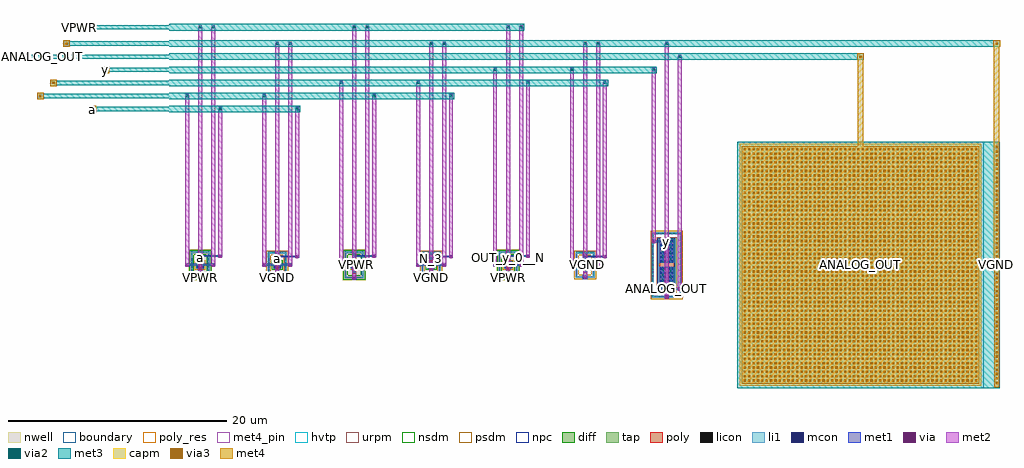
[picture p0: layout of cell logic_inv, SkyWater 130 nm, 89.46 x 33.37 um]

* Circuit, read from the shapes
.subckt logic_inv ANALOG_OUT N_3 OUT_y_0__N VGND VPWR a y
XM1 VGND a N_3 VGND sky130_fd_pr__nfet_01v8 w=0.65 l=0.15
XM2 VGND N_3 OUT_y_0__N VGND sky130_fd_pr__nfet_01v8 w=0.65 l=0.15
XM3 VGND OUT_y_0__N y VGND sky130_fd_pr__nfet_01v8 w=0.65 l=0.15
XM4 VPWR a N_3 VPWR sky130_fd_pr__pfet_01v8_hvt w=0.65 l=0.15
XM5 VPWR N_3 OUT_y_0__N VPWR sky130_fd_pr__pfet_01v8_hvt w=0.65 l=0.15
XM6 VPWR OUT_y_0__N y VPWR sky130_fd_pr__pfet_01v8_hvt w=0.65 l=0.15
XC7 ANALOG_OUT VGND sky130_fd_pr__cap_mim_m3_1 w=22.17 l=22.17
XR8 y ANALOG_OUT VGND sky130_fd_pr__res_xhigh_po w=1.41 l=0.42
.ends

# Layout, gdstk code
import gdstk
lib = gdstk.Library(unit=1e-6, precision=1e-09)
def R(c, l, rs):  # rectangles x0, y0, x1, y1
    for r in rs: c.add(gdstk.rectangle(r[:2], r[2:], *l))
def A(c, l, x, y, w, h, nx, ny, dx, dy):  # array of equal rectangles
    R(c, l, [(x+i*dx, y+j*dy, x+i*dx+w, y+j*dy+h) for i in range(nx) for j in range(ny)])
nwell = (64, 20)
diff = (65, 20)
tap = (65, 44)
poly_res = (66, 13)
poly = (66, 20)
licon = (66, 44)
li1 = (67, 20)
mcon = (67, 44)
met1 = (68, 20)
via = (68, 44)
met2 = (69, 20)
via2 = (69, 44)
met3 = (70, 20)
via3 = (70, 44)
met4_pin = (71, 16)
met4 = (71, 20)
hvtp = (78, 44)
urpm = (79, 20)
capm = (89, 44)
nsdm = (93, 44)
psdm = (94, 20)
npc = (95, 20)
boundary = (235, 4)

logic_inv = lib.new_cell('logic_inv')
A(logic_inv, nwell, 25.1, 19.865, 2.11, 2.84, 3, 1, 14.11, 0)
A(logic_inv, diff, 25.79, 20.96, 0.73, 0.65, 6, 1, 7.055, 0)
A(logic_inv, tap, 25.28, 20.045, 1.75, 0.17, 3, 2, 14.11, 2.31)
A(logic_inv, tap, 32.335, 20.09, 1.75, 0.17, 3, 2, 14.11, 2.22)
R(logic_inv, tap, [(67.555,18.285,70.265,18.455), (67.555,18.455,67.725,24.115), (70.095,18.455,70.265,24.115), (25.28,20.215,25.45,22.355), (26.86,20.215,27.03,22.355), (39.39,20.215,39.56,22.355), (40.97,20.215,41.14,22.355), (53.5,20.215,53.67,22.355), (55.08,20.215,55.25,22.355), (32.335,20.26,32.505,22.31), (33.915,20.26,34.085,22.31), (46.445,20.26,46.615,22.31), (48.025,20.26,48.195,22.31), (60.555,20.26,60.725,22.31), (62.135,20.26,62.305,22.31), (67.555,24.115,70.265,24.285)])
R(logic_inv, poly_res, [(68.205,21.015,69.615,21.555)])
A(logic_inv, poly, 25.99, 20.475, 0.33, 0.33, 3, 2, 14.11, 1.29)
A(logic_inv, poly, 33.045, 20.52, 0.33, 0.33, 3, 2, 14.11, 1.2)
A(logic_inv, poly, 26.08, 20.805, 0.15, 0.96, 3, 1, 14.11, 0)
A(logic_inv, poly, 33.135, 20.85, 0.15, 0.87, 3, 1, 14.11, 0)
R(logic_inv, poly, [(68.205,18.935,69.615,23.635)])
A(logic_inv, licon, 68.145, 18.285, 0.17, 0.17, 5, 2, 0.34, 5.83)
A(logic_inv, licon, 67.555, 18.82, 0.17, 0.17, 1, 15, 0, 0.34)
A(logic_inv, licon, 70.095, 18.82, 0.17, 0.17, 1, 15, 0, 0.34)
A(logic_inv, licon, 26.07, 20.555, 0.17, 0.17, 3, 2, 14.11, 1.29)
A(logic_inv, licon, 33.125, 20.6, 0.17, 0.17, 3, 2, 14.11, 1.2)
A(logic_inv, licon, 25.28, 20.69, 0.17, 0.17, 1, 4, 0, 0.34)
A(logic_inv, licon, 26.86, 20.69, 0.17, 0.17, 1, 4, 0, 0.34)
A(logic_inv, licon, 32.335, 20.69, 0.17, 0.17, 1, 4, 0, 0.34)
A(logic_inv, licon, 33.915, 20.69, 0.17, 0.17, 1, 4, 0, 0.34)
A(logic_inv, licon, 39.39, 20.69, 0.17, 0.17, 1, 4, 0, 0.34)
A(logic_inv, licon, 40.97, 20.69, 0.17, 0.17, 1, 4, 0, 0.34)
A(logic_inv, licon, 46.445, 20.69, 0.17, 0.17, 1, 4, 0, 0.34)
A(logic_inv, licon, 48.025, 20.69, 0.17, 0.17, 1, 4, 0, 0.34)
A(logic_inv, licon, 53.5, 20.69, 0.17, 0.17, 1, 4, 0, 0.34)
A(logic_inv, licon, 55.08, 20.69, 0.17, 0.17, 1, 4, 0, 0.34)
A(logic_inv, licon, 60.555, 20.69, 0.17, 0.17, 1, 4, 0, 0.34)
A(logic_inv, licon, 62.135, 20.69, 0.17, 0.17, 1, 4, 0, 0.34)
R(logic_inv, licon, [(68.46,19.015,68.65,21.015), (69.17,19.015,69.36,21.015), (25.9,20.045,26.07,20.215), (26.24,20.045,26.41,20.215), (40.01,20.045,40.18,20.215), (40.35,20.045,40.52,20.215), (54.12,20.045,54.29,20.215), (54.46,20.045,54.63,20.215), (32.955,20.09,33.125,20.26), (33.295,20.09,33.465,20.26), (47.065,20.09,47.235,20.26), (47.405,20.09,47.575,20.26), (61.175,20.09,61.345,20.26), (61.515,20.09,61.685,20.26), (25.85,21.03,26.02,21.2), (26.29,21.03,26.46,21.2), (32.905,21.03,33.075,21.2), (33.345,21.03,33.515,21.2), (39.96,21.03,40.13,21.2), (40.4,21.03,40.57,21.2), (47.015,21.03,47.185,21.2), (47.455,21.03,47.625,21.2), (54.07,21.03,54.24,21.2), (54.51,21.03,54.68,21.2), (61.125,21.03,61.295,21.2), (61.565,21.03,61.735,21.2), (25.85,21.37,26.02,21.54), (26.29,21.37,26.46,21.54), (32.905,21.37,33.075,21.54), (33.345,21.37,33.515,21.54), (39.96,21.37,40.13,21.54), (40.4,21.37,40.57,21.54), (47.015,21.37,47.185,21.54), (47.455,21.37,47.625,21.54), (54.07,21.37,54.24,21.54), (54.51,21.37,54.68,21.54), (61.125,21.37,61.295,21.54), (61.565,21.37,61.735,21.54), (68.46,21.555,68.65,23.555), (69.17,21.555,69.36,23.555), (32.955,22.31,33.125,22.48), (33.295,22.31,33.465,22.48), (47.065,22.31,47.235,22.48), (47.405,22.31,47.575,22.48), (61.175,22.31,61.345,22.48), (61.515,22.31,61.685,22.48), (25.9,22.355,26.07,22.525), (26.24,22.355,26.41,22.525), (40.01,22.355,40.18,22.525), (40.35,22.355,40.52,22.525), (54.12,22.355,54.29,22.525), (54.46,22.355,54.63,22.525)])
A(logic_inv, li1, 25.28, 20.045, 1.75, 0.17, 3, 2, 14.11, 2.31)
A(logic_inv, li1, 32.335, 20.09, 1.75, 0.17, 3, 2, 14.11, 2.22)
A(logic_inv, li1, 25.99, 20.555, 0.33, 0.17, 3, 2, 14.11, 1.29)
A(logic_inv, li1, 33.045, 20.6, 0.33, 0.17, 3, 2, 14.11, 1.2)
A(logic_inv, li1, 33.125, 21.8, 0.17, 0.34, 3, 1, 14.11, 0)
A(logic_inv, li1, 26.07, 21.845, 0.17, 0.34, 3, 1, 14.11, 0)
R(logic_inv, li1, [(67.555,18.285,70.265,18.455), (67.555,18.455,67.725,24.115), (70.095,18.455,70.265,24.115), (68.205,18.935,69.615,21.095), (25.28,20.215,25.45,22.355), (26.86,20.215,27.03,22.355), (39.39,20.215,39.56,22.355), (40.97,20.215,41.14,22.355), (53.5,20.215,53.67,22.355), (55.08,20.215,55.25,22.355), (32.335,20.26,32.505,22.31), (33.915,20.26,34.085,22.31), (46.445,20.26,46.615,22.31), (48.025,20.26,48.195,22.31), (60.555,20.26,60.725,22.31), (62.135,20.26,62.305,22.31), (25.85,20.94,26.02,21.63), (26.29,20.94,26.46,21.63), (32.905,20.94,33.075,21.63), (33.345,20.94,33.515,21.63), (39.96,20.94,40.13,21.63), (40.4,20.94,40.57,21.63), (47.015,20.94,47.185,21.63), (47.455,20.94,47.625,21.63), (54.07,20.94,54.24,21.63), (54.51,20.94,54.68,21.63), (61.125,20.94,61.295,21.63), (61.565,20.94,61.735,21.63), (68.205,21.475,69.615,23.635), (67.555,24.115,70.265,24.285)])
A(logic_inv, mcon, 68.285, 19.03, 0.17, 0.17, 4, 6, 0.36, 0.36)
A(logic_inv, mcon, 26.07, 20.045, 0.17, 0.17, 3, 2, 14.11, 1.97)
A(logic_inv, mcon, 33.125, 20.09, 0.17, 0.17, 3, 2, 14.11, 1.88)
A(logic_inv, mcon, 68.285, 21.565, 0.17, 0.17, 4, 6, 0.36, 0.36)
R(logic_inv, mcon, [(68.825,18.285,68.995,18.455), (68.825,19.025,68.995,19.195), (25.85,21.02,26.02,21.19), (26.29,21.02,26.46,21.19), (32.905,21.02,33.075,21.19), (33.345,21.02,33.515,21.19), (39.96,21.02,40.13,21.19), (40.4,21.02,40.57,21.19), (47.015,21.02,47.185,21.19), (47.455,21.02,47.625,21.19), (54.07,21.02,54.24,21.19), (54.51,21.02,54.68,21.19), (61.125,21.02,61.295,21.19), (61.565,21.02,61.735,21.19), (25.85,21.38,26.02,21.55), (26.29,21.38,26.46,21.55), (32.905,21.38,33.075,21.55), (33.345,21.38,33.515,21.55), (39.96,21.38,40.13,21.55), (40.4,21.38,40.57,21.55), (47.015,21.38,47.185,21.55), (47.455,21.38,47.625,21.55), (54.07,21.38,54.24,21.55), (54.51,21.38,54.68,21.55), (61.125,21.38,61.295,21.55), (61.565,21.38,61.735,21.55), (68.825,23.375,68.995,23.545)])
A(logic_inv, met1, 25.955, 19.93, 0.4, 0.4, 3, 2, 14.11, 1.97)
A(logic_inv, met1, 33.01, 19.975, 0.4, 0.4, 3, 2, 14.11, 1.88)
A(logic_inv, met1, 25.975, 20, 0.36, 0.26, 3, 1, 14.11, 0)
A(logic_inv, met1, 33.03, 20.045, 0.36, 0.26, 3, 1, 14.11, 0)
A(logic_inv, met1, 34.85, 21.925, 0.36, 0.26, 3, 1, 14.11, 0)
A(logic_inv, met1, 27.795, 21.97, 0.36, 0.26, 3, 1, 14.11, 0)
A(logic_inv, met1, 33.21, 21.97, 1.82, 0.17, 3, 1, 14.11, 0)
A(logic_inv, met1, 26.155, 22.015, 1.82, 0.17, 3, 1, 14.11, 0)
R(logic_inv, met1, [(68.71,18.17,69.11,18.57), (68.73,18.24,69.09,18.5), (68.71,18.91,69.11,19.31), (68.255,18.965,69.565,21.07), (69.93,18.98,70.29,19.24), (68.91,19.025,70.11,19.195), (25.82,20.96,26.05,21.61), (26.26,20.96,26.49,21.61), (32.875,20.96,33.105,21.61), (33.315,20.96,33.545,21.61), (39.93,20.96,40.16,21.61), (40.37,20.96,40.6,21.61), (46.985,20.96,47.215,21.61), (47.425,20.96,47.655,21.61), (54.04,20.96,54.27,21.61), (54.48,20.96,54.71,21.61), (61.095,20.96,61.325,21.61), (61.535,20.96,61.765,21.61), (24.775,21.155,25.135,21.415), (27.175,21.155,27.535,21.415), (31.83,21.155,32.19,21.415), (34.23,21.155,34.59,21.415), (38.885,21.155,39.245,21.415), (41.285,21.155,41.645,21.415), (45.94,21.155,46.3,21.415), (48.34,21.155,48.7,21.415), (52.995,21.155,53.355,21.415), (55.395,21.155,55.755,21.415), (60.05,21.155,60.41,21.415), (62.45,21.155,62.81,21.415), (24.955,21.2,25.935,21.37), (26.375,21.2,27.355,21.37), (32.01,21.2,32.99,21.37), (33.43,21.2,34.41,21.37), (39.065,21.2,40.045,21.37), (40.485,21.2,41.465,21.37), (46.12,21.2,47.1,21.37), (47.54,21.2,48.52,21.37), (53.175,21.2,54.155,21.37), (54.595,21.2,55.575,21.37), (60.23,21.2,61.21,21.37), (61.65,21.2,62.63,21.37), (68.255,21.5,69.565,23.605), (68.71,23.26,69.11,23.66), (67.53,23.33,67.89,23.59), (67.71,23.375,68.91,23.545)])
A(logic_inv, via, 26.08, 20.055, 0.15, 0.15, 3, 1, 14.11, 0)
A(logic_inv, via, 33.135, 20.1, 0.15, 0.15, 3, 1, 14.11, 0)
A(logic_inv, via, 34.955, 21.98, 0.15, 0.15, 3, 1, 14.11, 0)
A(logic_inv, via, 27.9, 22.025, 0.15, 0.15, 3, 1, 14.11, 0)
R(logic_inv, via, [(68.835,18.295,68.985,18.445), (70.035,19.035,70.185,19.185), (24.88,21.21,25.03,21.36), (27.28,21.21,27.43,21.36), (31.935,21.21,32.085,21.36), (34.335,21.21,34.485,21.36), (38.99,21.21,39.14,21.36), (41.39,21.21,41.54,21.36), (46.045,21.21,46.195,21.36), (48.445,21.21,48.595,21.36), (53.1,21.21,53.25,21.36), (55.5,21.21,55.65,21.36), (60.155,21.21,60.305,21.36), (62.555,21.21,62.705,21.36), (67.635,23.385,67.785,23.535)])
A(logic_inv, met2, 26.025, 19.95, 0.26, 0.36, 3, 1, 14.11, 0)
A(logic_inv, met2, 33.08, 19.995, 0.26, 0.36, 3, 1, 14.11, 0)
A(logic_inv, met2, 25.975, 20.13, 0.36, 22.94, 3, 1, 14.11, 0)
A(logic_inv, met2, 33.03, 20.175, 0.36, 21.395, 3, 1, 14.11, 0)
A(logic_inv, met2, 27.175, 21.285, 0.36, 21.785, 3, 1, 14.11, 0)
A(logic_inv, met2, 34.23, 21.285, 0.36, 20.285, 3, 1, 14.11, 0)
A(logic_inv, met2, 34.9, 21.875, 0.26, 0.36, 3, 1, 14.11, 0)
A(logic_inv, met2, 27.845, 21.92, 0.26, 0.36, 3, 1, 14.11, 0)
R(logic_inv, met2, [(68.78,18.19,69.04,18.55), (68.73,18.37,69.09,41.57), (69.98,18.93,70.24,19.29), (69.93,19.11,70.29,40.37), (24.825,21.105,25.085,21.465), (27.225,21.105,27.485,21.465), (31.88,21.105,32.14,21.465), (34.28,21.105,34.54,21.465), (38.935,21.105,39.195,21.465), (41.335,21.105,41.595,21.465), (45.99,21.105,46.25,21.465), (48.39,21.105,48.65,21.465), (53.045,21.105,53.305,21.465), (55.445,21.105,55.705,21.465), (60.1,21.105,60.36,21.465), (62.5,21.105,62.76,21.465), (24.775,21.285,25.135,36.77), (31.83,21.285,32.19,36.77), (38.885,21.285,39.245,37.97), (45.94,21.285,46.3,37.97), (52.995,21.285,53.355,39.17), (60.05,21.285,60.41,39.17), (34.85,22.055,35.21,35.57), (48.96,22.055,49.32,36.77), (63.07,22.055,63.43,37.97), (27.795,22.1,28.155,35.57), (41.905,22.1,42.265,36.77), (56.015,22.1,56.375,37.97), (67.58,23.28,67.84,23.64), (67.53,23.46,67.89,39.17), (27.835,35.38,28.115,35.76), (34.89,35.38,35.17,35.76), (24.815,36.58,25.095,36.96), (31.87,36.58,32.15,36.96), (41.945,36.58,42.225,36.96), (49,36.58,49.28,36.96), (38.925,37.78,39.205,38.16), (45.98,37.78,46.26,38.16), (56.055,37.78,56.335,38.16), (63.11,37.78,63.39,38.16), (53.035,38.98,53.315,39.36), (60.09,38.98,60.37,39.36), (67.57,38.98,67.85,39.36), (69.97,40.18,70.25,40.56), (33.07,41.38,33.35,41.76), (34.27,41.38,34.55,41.76), (47.18,41.38,47.46,41.76), (48.38,41.38,48.66,41.76), (61.29,41.38,61.57,41.76), (62.49,41.38,62.77,41.76), (68.77,41.38,69.05,41.76), (26.015,42.88,26.295,43.26), (27.215,42.88,27.495,43.26), (40.125,42.88,40.405,43.26), (41.325,42.88,41.605,43.26), (54.235,42.88,54.515,43.26), (55.435,42.88,55.715,43.26)])
R(logic_inv, via2, [(27.875,35.47,28.075,35.67), (34.93,35.47,35.13,35.67), (24.855,36.67,25.055,36.87), (31.91,36.67,32.11,36.87), (41.985,36.67,42.185,36.87), (49.04,36.67,49.24,36.87), (38.965,37.87,39.165,38.07), (46.02,37.87,46.22,38.07), (56.095,37.87,56.295,38.07), (63.15,37.87,63.35,38.07), (53.075,39.07,53.275,39.27), (60.13,39.07,60.33,39.27), (67.61,39.07,67.81,39.27), (70.01,40.27,70.21,40.47), (33.11,41.47,33.31,41.67), (34.31,41.47,34.51,41.67), (47.22,41.47,47.42,41.67), (48.42,41.47,48.62,41.67), (61.33,41.47,61.53,41.67), (62.53,41.47,62.73,41.67), (68.81,41.47,69.01,41.67), (26.055,42.97,26.255,43.17), (27.255,42.97,27.455,43.17), (40.165,42.97,40.365,43.17), (41.365,42.97,41.565,43.17), (54.275,42.97,54.475,43.17), (55.475,42.97,55.675,43.17)])
R(logic_inv, met3, [(75.39,10,99.42,32.57), (16,35.27,16.6,35.87), (23.3,35.27,35.33,35.87), (27.725,35.32,28.225,35.82), (34.78,35.32,35.28,35.82), (11.2,36.47,11.8,37.07), (23.3,36.47,49.44,37.07), (24.705,36.52,25.205,37.02), (31.76,36.52,32.26,37.02), (41.835,36.52,42.335,37.02), (48.89,36.52,49.39,37.02), (12.4,37.67,13,38.27), (23.3,37.67,63.55,38.27), (38.815,37.72,39.315,38.22), (45.87,37.72,46.37,38.22), (55.945,37.72,56.445,38.22), (63,37.72,63.5,38.22), (17.2,38.87,17.8,39.47), (23.3,38.87,68.01,39.47), (52.925,38.92,53.425,39.42), (59.98,38.92,60.48,39.42), (67.46,38.92,67.96,39.42), (10,40.07,10.6,40.67), (23.3,40.07,86.975,40.67), (86.375,40.07,86.975,40.67), (69.86,40.12,70.36,40.62), (13.6,41.27,14.2,41.87), (23.3,41.27,99.46,41.87), (98.86,41.27,99.46,41.87), (32.96,41.32,33.46,41.82), (34.16,41.32,34.66,41.82), (47.07,41.32,47.57,41.82), (48.27,41.32,48.77,41.82), (61.18,41.32,61.68,41.82), (62.38,41.32,62.88,41.82), (68.66,41.32,69.16,41.82), (14.8,42.77,15.4,43.37), (23.3,42.77,55.875,43.37), (25.905,42.82,26.405,43.32), (27.105,42.82,27.605,43.32), (40.015,42.82,40.515,43.32), (41.215,42.82,41.715,43.32), (54.125,42.82,54.625,43.32), (55.325,42.82,55.825,43.32)])
A(logic_inv, via3, 99.06, 10.385, 0.2, 0.2, 1, 55, 0, 0.4)
A(logic_inv, via3, 75.975, 10.585, 0.2, 0.2, 54, 54, 0.4, 0.4)
R(logic_inv, via3, [(16.2,35.47,16.4,35.67), (11.4,36.67,11.6,36.87), (12.6,37.87,12.8,38.07), (17.4,39.07,17.6,39.27), (10.2,40.27,10.4,40.47), (86.575,40.27,86.775,40.47), (13.8,41.47,14,41.67), (99.06,41.47,99.26,41.67), (15,42.97,15.2,43.17)])
R(logic_inv, met4_pin, [(16.05,35.32,16.55,35.82), (17.25,38.92,17.75,39.42), (10.05,40.12,10.55,40.62), (13.65,41.32,14.15,41.82), (14.85,42.82,15.35,43.32)])
R(logic_inv, met4, [(98.92,10.06,99.4,32.51), (75.785,10.395,97.565,32.175), (86.425,21.285,86.925,40.37), (98.91,21.285,99.41,41.57), (16,35.27,16.6,35.87), (16.05,35.27,16.55,35.87), (11.2,36.47,11.8,37.07), (11.25,36.47,11.75,37.07), (12.4,37.67,13,38.27), (12.45,37.67,12.95,38.27), (17.2,38.87,17.8,39.47), (17.25,38.87,17.75,39.47), (10,40.07,10.6,40.67), (10.05,40.07,10.55,40.67), (86.375,40.07,86.975,40.67), (13.6,41.27,14.2,41.87), (13.65,41.27,14.15,41.87), (98.86,41.27,99.46,41.87), (14.8,42.77,15.4,43.37), (14.85,42.77,15.35,43.37)])
A(logic_inv, hvtp, 25.9, 20.78, 0.51, 1.01, 3, 1, 14.11, 0)
R(logic_inv, urpm, [(68.005,18.735,69.815,23.835)])
R(logic_inv, capm, [(75.59,10.2,97.76,32.37)])
A(logic_inv, nsdm, 25.155, 19.92, 2, 0.42, 3, 2, 14.11, 2.31)
A(logic_inv, nsdm, 32.72, 20.835, 0.98, 0.9, 3, 1, 14.11, 0)
R(logic_inv, nsdm, [(25.155,20.34,25.575,22.23), (26.735,20.34,27.155,22.23), (39.265,20.34,39.685,22.23), (40.845,20.34,41.265,22.23), (53.375,20.34,53.795,22.23), (54.955,20.34,55.375,22.23)])
A(logic_inv, psdm, 32.21, 19.965, 2, 0.42, 3, 2, 14.11, 2.22)
A(logic_inv, psdm, 25.665, 20.835, 0.98, 0.9, 3, 1, 14.11, 0)
R(logic_inv, psdm, [(67.43,18.16,70.39,24.41), (32.21,20.385,32.63,22.185), (33.79,20.385,34.21,22.185), (46.32,20.385,46.74,22.185), (47.9,20.385,48.32,22.185), (60.43,20.385,60.85,22.185), (62.01,20.385,62.43,22.185)])
A(logic_inv, npc, 25.97, 20.455, 0.37, 0.37, 3, 2, 14.11, 1.29)
A(logic_inv, npc, 33.025, 20.5, 0.37, 0.37, 3, 2, 14.11, 1.2)
R(logic_inv, npc, [(68.11,18.84,69.71,23.73)])
A(logic_inv, boundary, 25.365, 20.13, 1.58, 2.31, 3, 1, 14.11, 0)
A(logic_inv, boundary, 32.42, 20.175, 1.58, 2.22, 3, 1, 14.11, 0)
R(logic_inv, boundary, [(75.39,10,97.96,32.57), (67.64,18.37,70.18,24.2)])
logic_inv.add(gdstk.FlexPath([(10.3,40.37),(23.3,40.37)], 0.4, ends="flush", simple_path=True, layer=70, datatype=20))  # met3
logic_inv.add(gdstk.FlexPath([(11.5,36.77),(23.3,36.77)], 0.4, ends="flush", simple_path=True, layer=70, datatype=20))  # met3
logic_inv.add(gdstk.FlexPath([(12.7,37.97),(23.3,37.97)], 0.4, ends="flush", simple_path=True, layer=70, datatype=20))  # met3
logic_inv.add(gdstk.FlexPath([(13.9,41.57),(23.3,41.57)], 0.4, ends="flush", simple_path=True, layer=70, datatype=20))  # met3
logic_inv.add(gdstk.FlexPath([(15.1,43.07),(23.3,43.07)], 0.4, ends="flush", simple_path=True, layer=70, datatype=20))  # met3
logic_inv.add(gdstk.FlexPath([(16.3,35.57),(23.3,35.57)], 0.4, ends="flush", simple_path=True, layer=70, datatype=20))  # met3
logic_inv.add(gdstk.FlexPath([(17.5,39.17),(23.3,39.17)], 0.4, ends="flush", simple_path=True, layer=70, datatype=20))  # met3
logic_inv.add(gdstk.Label('VPWR', (40.485,21.285), layer=67, texttype=5))
logic_inv.add(gdstk.Label('OUT_y_0__N', (40.045,21.285), layer=67, texttype=5))
logic_inv.add(gdstk.Label('a', (33.21,21.885), layer=67, texttype=5))
logic_inv.add(gdstk.Label('VGND', (33.21,20.175), layer=67, texttype=5))
logic_inv.add(gdstk.Label('VGND', (47.32,20.175), layer=67, texttype=5))
logic_inv.add(gdstk.Label('VGND', (33.43,21.285), layer=67, texttype=5))
logic_inv.add(gdstk.Label('N_3', (40.265,21.93), layer=67, texttype=5))
logic_inv.add(gdstk.Label('VPWR', (26.155,20.13), layer=67, texttype=5))
logic_inv.add(gdstk.Label('VPWR', (40.265,20.13), layer=67, texttype=5))
logic_inv.add(gdstk.Label('N_3', (25.935,21.285), layer=67, texttype=5))
logic_inv.add(gdstk.Label('ANALOG_OUT', (68.91,19.11), layer=67, texttype=5))
logic_inv.add(gdstk.Label('a', (26.155,21.93), layer=67, texttype=5))
logic_inv.add(gdstk.Label('VPWR', (26.375,21.285), layer=67, texttype=5))
logic_inv.add(gdstk.Label('N_3', (47.32,21.885), layer=67, texttype=5))
logic_inv.add(gdstk.Label('VGND', (61.65,21.285), layer=67, texttype=5))
logic_inv.add(gdstk.Label('OUT_y_0__N', (61.43,21.885), layer=67, texttype=5))
logic_inv.add(gdstk.Label('VGND', (47.54,21.285), layer=67, texttype=5))
logic_inv.add(gdstk.Label('y', (61.21,21.285), layer=67, texttype=5))
logic_inv.add(gdstk.Label('VGND', (61.43,20.175), layer=67, texttype=5))
logic_inv.add(gdstk.Label('OUT_y_0__N', (54.375,21.93), layer=67, texttype=5))
logic_inv.add(gdstk.Label('VPWR', (54.595,21.285), layer=67, texttype=5))
logic_inv.add(gdstk.Label('OUT_y_0__N', (47.1,21.285), layer=67, texttype=5))
logic_inv.add(gdstk.Label('y', (54.155,21.285), layer=67, texttype=5))
logic_inv.add(gdstk.Label('VPWR', (54.375,20.13), layer=67, texttype=5))
logic_inv.add(gdstk.Label('VGND', (68.91,18.37), layer=67, texttype=5))
logic_inv.add(gdstk.Label('y', (68.91,23.46), layer=67, texttype=5))
logic_inv.add(gdstk.Label('N_3', (32.99,21.285), layer=67, texttype=5))
logic_inv.add(gdstk.Label('VGND', (99.16,21.285), layer=71, texttype=5))
logic_inv.add(gdstk.Label('ANALOG_OUT', (10.3,40.37), layer=71, texttype=5))
logic_inv.add(gdstk.Label('ANALOG_OUT', (86.675,21.285), layer=71, texttype=5))
logic_inv.add(gdstk.Label('VGND', (13.9,41.57), layer=71, texttype=5))
logic_inv.add(gdstk.Label('VPWR', (15.1,43.07), layer=71, texttype=5))
logic_inv.add(gdstk.Label('a', (16.3,35.57), layer=71, texttype=5))
logic_inv.add(gdstk.Label('y', (17.5,39.17), layer=71, texttype=5))

lib.write_gds('logic_inv.gds')
